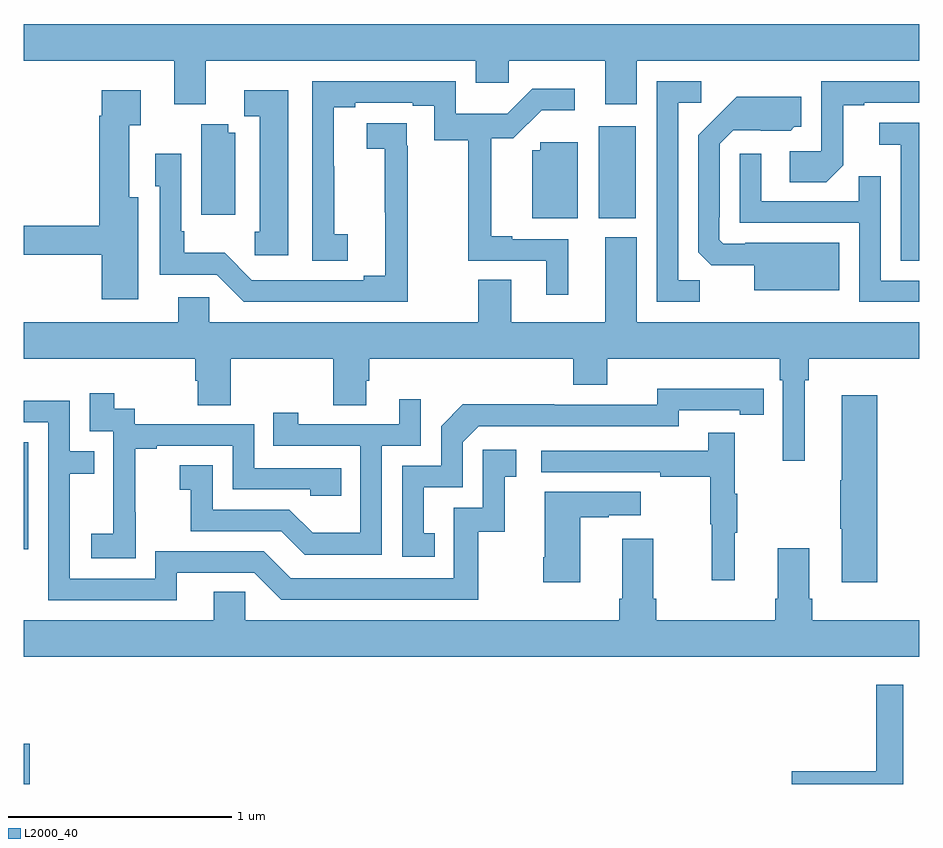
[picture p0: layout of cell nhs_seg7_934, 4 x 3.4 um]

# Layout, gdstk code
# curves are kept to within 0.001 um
import gdstk
lib = gdstk.Library(unit=1e-6, precision=1e-09)
def R(c, l, rs):  # rectangles x0, y0, x1, y1
    for r in rs: c.add(gdstk.rectangle(r[:2], r[2:], *l))
def P(c, l, *ps):  # polygons
    for p in ps: c.add(gdstk.Polygon(p, *l))
L2000_40 = (2000, 40)

nhs_seg7_934 = lib.new_cell('nhs_seg7_934')
R(nhs_seg7_934, L2000_40, [(179,1048,179.027,1048.18), (179,1049.049,179.019,1049.526), (181.568,1050.527,181.735,1050.94)])
P(nhs_seg7_934, L2000_40, [(179.812,1051.232),(181.019,1051.232),(181.019,1051.134),(181.166,1051.134),(181.166,1051.232),(181.598,1051.232),(181.598,1051.038),(181.738,1051.038),(181.738,1051.232),(183,1051.232),(183,1051.396),(179,1051.396),(179,1051.232),(179.672,1051.232),(179.672,1051.038),(179.812,1051.038)],
  [(182.661,1050.764),(182.661,1051.032),(182.755,1051.032),(182.755,1051.044),(183,1051.044),(183,1051.14),(182.562,1051.14),(182.562,1050.828),(182.421,1050.828),(182.421,1050.688),(182.585,1050.688)],
  [(181.432,1050.435),(181.183,1050.435),(181.183,1050.448),(181.088,1050.448),(181.088,1050.885),(181.187,1050.885),(181.313,1051.01),(181.462,1051.01),(181.462,1051.107),(181.272,1051.107),(181.159,1050.994),(180.93,1050.994),(180.93,1051.14),(180.288,1051.14),(180.288,1050.337),(180.448,1050.337),(180.448,1050.457),(180.387,1050.457),(180.387,1050.761),(180.385,1050.761),(180.385,1051.024),(180.481,1051.024),(180.481,1051.044),(180.737,1051.044),(180.737,1051.03),(180.834,1051.03),(180.834,1050.877),(180.985,1050.877),(180.985,1050.339),(181.334,1050.339),(181.334,1050.186),(181.432,1050.186)],
  [(182.019,1050.251),(181.923,1050.251),(181.923,1051.044),(182.026,1051.044),(182.026,1051.14),(181.827,1051.14),(181.827,1050.156),(182.019,1050.156)],
  [(180.181,1051.099),(179.985,1051.099),(179.985,1050.984),(180.053,1050.984),(180.053,1050.468),(180.031,1050.468),(180.031,1050.363),(180.181,1050.363)],
  [(179.512,1050.622),(179.47,1050.622),(179.47,1050.943),(179.521,1050.943),(179.521,1051.099),(179.348,1051.099),(179.348,1050.986),(179.336,1050.986),(179.336,1050.494),(179,1050.494),(179,1050.366),(179.348,1050.366),(179.348,1050.165),(179.512,1050.165)],
  [(182.644,1050.418),(182.224,1050.418),(182.224,1050.414),(182.124,1050.414),(182.106,1050.432),(182.106,1050.532),(182.109,1050.532),(182.109,1050.861),(182.169,1050.921),(182.426,1050.92),(182.442,1050.936),(182.473,1050.936),(182.473,1051.072),(182.185,1051.072),(182.013,1050.898),(182.013,1050.376),(182.072,1050.317),(182.264,1050.317),(182.264,1050.206),(182.644,1050.206)],
  [(183,1050.954),(182.823,1050.954),(182.823,1050.857),(182.919,1050.857),(182.919,1050.337),(183,1050.337)],
  [(180.716,1050.851),(180.71,1050.851),(180.71,1050.953),(180.531,1050.953),(180.531,1050.838),(180.613,1050.838),(180.614,1050.272),(180.518,1050.272),(180.518,1050.252),(180.018,1050.252),(179.897,1050.373),(179.716,1050.373),(179.716,1050.469),(179.703,1050.469),(179.703,1050.817),(179.586,1050.817),(179.586,1050.672),(179.607,1050.672),(179.607,1050.276),(179.862,1050.276),(179.982,1050.156),(180.716,1050.156)],
  [(179.944,1050.91),(179.912,1050.91),(179.912,1050.947),(179.792,1050.947),(179.792,1050.543),(179.944,1050.543)],
  [(181.474,1050.868),(181.308,1050.868),(181.308,1050.832),(181.271,1050.832),(181.271,1050.527),(181.474,1050.527)],
  [(183,1050.249),(182.829,1050.249),(182.829,1050.716),(182.731,1050.716),(182.731,1050.603),(182.295,1050.603),(182.295,1050.817),(182.199,1050.817),(182.199,1050.507),(182.733,1050.507),(182.733,1050.156),(183,1050.156)],
  [(182.488,1049.804),(182.507,1049.804),(182.507,1049.9),(183,1049.9),(183,1050.064),(181.738,1050.064),(181.738,1050.442),(181.598,1050.442),(181.598,1050.064),(181.177,1050.064),(181.177,1050.254),(181.03,1050.254),(181.03,1050.064),(179.829,1050.064),(179.829,1050.174),(179.69,1050.174),(179.69,1050.064),(179,1050.064),(179,1049.9),(179.765,1049.9),(179.765,1049.802),(179.777,1049.802),(179.777,1049.692),(179.925,1049.692),(179.925,1049.9),(180.382,1049.9),(180.382,1049.692),(180.529,1049.692),(180.529,1049.802),(180.542,1049.802),(180.542,1049.9),(181.454,1049.9),(181.454,1049.783),(181.606,1049.783),(181.606,1049.9),(182.378,1049.9),(182.378,1049.804),(182.391,1049.804),(182.391,1049.445),(182.488,1049.445)],
  [(180.836,1049.121),(180.787,1049.121),(180.787,1049.325),(180.96,1049.325),(180.96,1049.526),(181.032,1049.598),(181.926,1049.598),(181.926,1049.67),(182.198,1049.67),(182.198,1049.65),(182.306,1049.65),(182.306,1049.766),(181.83,1049.767),(181.83,1049.694),(181.37,1049.694),(181.37,1049.696),(180.962,1049.696),(180.864,1049.598),(180.864,1049.421),(180.69,1049.421),(180.69,1049.016),(180.836,1049.016)],
  [(179.499,1049.215),(179.498,1049.215),(179.498,1049.499),(179.593,1049.499),(179.593,1049.511),(179.934,1049.511),(179.934,1049.316),(180.279,1049.316),(180.279,1049.289),(180.419,1049.289),(180.419,1049.412),(180.03,1049.412),(180.03,1049.607),(179.496,1049.607),(179.496,1049.676),(179.404,1049.676),(179.404,1049.746),(179.295,1049.746),(179.295,1049.577),(179.4,1049.577),(179.4,1049.348),(179.399,1049.348),(179.399,1049.119),(179.301,1049.119),(179.301,1049.009),(179.499,1049.009)],
  [(182.813,1049.737),(182.654,1049.737),(182.654,1049.357),(182.647,1049.357),(182.647,1049.14),(182.654,1049.14),(182.654,1048.902),(182.813,1048.902)],
  [(180.6,1049.511),(180.774,1049.511),(180.774,1049.719),(180.677,1049.719),(180.677,1049.607),(180.226,1049.607),(180.226,1049.659),(180.115,1049.659),(180.115,1049.511),(180.504,1049.511),(180.504,1049.122),(180.29,1049.122),(180.186,1049.226),(179.844,1049.226),(179.844,1049.425),(179.697,1049.425),(179.697,1049.315),(179.746,1049.315),(179.746,1049.13),(180.149,1049.13),(180.254,1049.025),(180.6,1049.025)],
  [(179.683,1048.944),(180.03,1048.944),(180.15,1048.824),(181.03,1048.824),(181.03,1049.127),(181.148,1049.127),(181.148,1049.373),(181.201,1049.373),(181.201,1049.494),(181.05,1049.494),(181.05,1049.235),(180.921,1049.235),(180.921,1048.92),(180.192,1048.92),(180.072,1049.04),(179.586,1049.04),(179.586,1048.917),(179.205,1048.917),(179.205,1049.386),(179.315,1049.386),(179.315,1049.487),(179.205,1049.487),(179.205,1049.712),(179,1049.712),(179,1049.616),(179.109,1049.616),(179.109,1048.821),(179.683,1048.821)],
  [(182.177,1049.123),(182.188,1049.123),(182.188,1049.297),(182.177,1049.297),(182.177,1049.569),(182.059,1049.569),(182.059,1049.49),(181.311,1049.49),(181.311,1049.394),(181.843,1049.394),(181.843,1049.374),(182.067,1049.374),(182.067,1049.16),(182.074,1049.16),(182.074,1048.911),(182.177,1048.911)],
  [(181.486,1049.191),(181.613,1049.191),(181.613,1049.201),(181.756,1049.201),(181.756,1049.305),(181.328,1049.305),(181.328,1049.014),(181.321,1049.014),(181.321,1048.902),(181.486,1048.902)],
  [(183,1048.732),(182.522,1048.732),(182.522,1048.828),(182.509,1048.828),(182.509,1049.053),(182.369,1049.053),(182.369,1048.828),(182.357,1048.828),(182.357,1048.732),(181.826,1048.732),(181.826,1048.828),(181.813,1048.828),(181.813,1049.095),(181.673,1049.095),(181.673,1048.828),(181.661,1048.828),(181.661,1048.732),(179.988,1048.732),(179.988,1048.859),(179.849,1048.859),(179.849,1048.732),(179,1048.732),(179,1048.568),(183,1048.568)],
  [(182.929,1048.444),(182.808,1048.444),(182.808,1048.058),(182.43,1048.058),(182.43,1048),(182.929,1048)])

lib.write_gds('nhs_seg7_934.gds')
